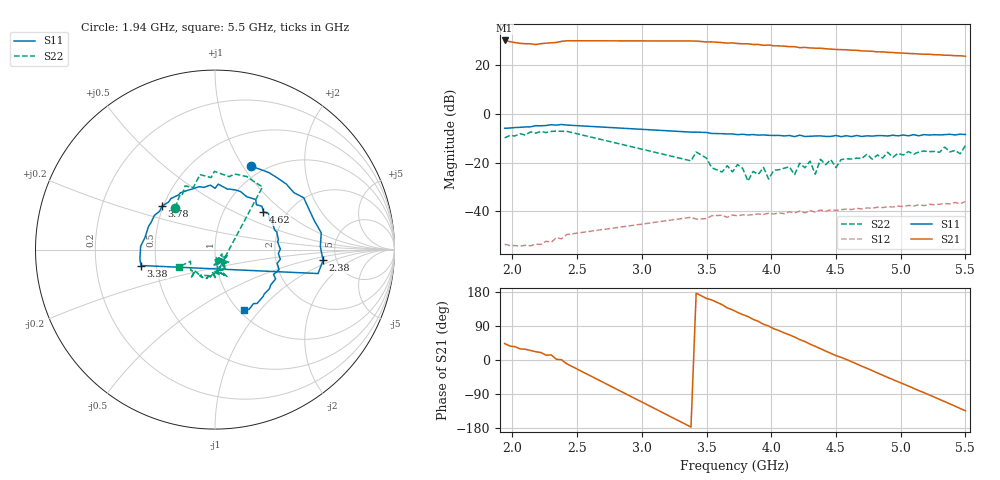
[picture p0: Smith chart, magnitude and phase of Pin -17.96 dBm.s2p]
! RsaToolbox (C) 2015 Rohde & Schwarz America
! Number of points: 65
! Number of ports: 2
! Balanced ports?: No
# Hz S RI R 50
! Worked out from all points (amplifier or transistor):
!   65 points, 1.94 GHz to 5.5 GHz, reference 50 ohm
!   highest |S21| = 30.2 dB at 1.94 GHz (marker M1)
!   |S21| within 3 dB of that: start of sweep to 4.288 GHz
!   unconditionally stable (mu >= 1): start of sweep to end of sweep
!   at 2.34 GHz: K = 3.43, MAG = 31.8 dB, |S12| = -50.9 dB
!   at 4.22 GHz: K = 1.95, MAG = 28.0 dB, |S12| = -39.9 dB
!   at 5.5 GHz: K = 1.75, MAG = 24.8 dB, |S12| = -36.0 dB
!   S11 on the Smith chart (normalised r, x): 1.94 GHz: 0.87, +1.09; 2.38 GHz: 3.91, -0.74; 3.38 GHz: 0.41, -0.09; 3.78 GHz: 0.49, +0.28; 4.62 GHz: 1.53, +0.73; 5.5 GHz: 1.05, -0.83
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1.94e9  0.2021 0.465  23.42 22.18  -0.000214 -0.00209  -0.2215 0.2331
2.06e9  0.3459 0.4005  24.52 13.76  -0.000561 -0.00183  -0.1664 0.355
2.18e9  0.4941 0.289  24.67 9.892  -0.000536 -0.00203  -0.0217 0.4015
2.22e9  0.5257 0.22  26.09 9.354  -0.00047 -0.00203  -0.00322 0.436
2.26e9  0.5537 0.1604  27.61 6.291  -0.000733 -0.00231  0.079 0.4062
2.3e9  0.5921 0.0929  28.11 6.697  -0.000584 -0.00222  0.1081 0.4214
2.34e9  0.5868 0.0174  29.34 0.9525  -0.00108 -0.00265  0.1771 0.4071
2.38e9  0.6021 -0.0601  30.87 0.281  -0.000889 -0.00256  0.2094 0.3843
2.42e9  0.5743 -0.1334  31.34 -5.495  -0.00163 -0.00289  0.2646 0.3491
3.38e9  -0.4127 -0.0886  -31.42 -1.684  -0.0039 0.00642  0.0217 -0.1063
3.54e9  -0.3904 0.067  -28.07 11.03  -0.00158 0.00791  0.0122 -0.0772
3.74e9  -0.3083 0.2135  -16.2 22.71  0.0016 0.00787  0.00253 -0.0909
3.78e9  -0.2956 0.2418  -13.69 23.92  0.0026 0.00803  0.0475 -0.0586
3.98e9  -0.1433 0.3332  0.1728 26.02  0.00572 0.00707  0.0394 -0.0236
4.18e9  0.000425 0.3412  11.77 20.95  0.00823 0.00413  2.42e-05 -0.0565
4.34e9  0.1183 0.3312  18.08 13.15  0.00946 0.00151  0.024 -0.0523
4.46e9  0.1795 0.2936  20.43 6.488  0.0107 -0.00104  0.0588 -0.0985
4.62e9  0.2692 0.2102  20.24 -1.549  0.0098 -0.00464  0.0257 -0.1154
4.78e9  0.3321 0.109  17.05 -9.054  0.00826 -0.00804  0.0091 -0.1169
4.94e9  0.3641 0.00215  11.32 -14.32  0.00591 -0.0107  -0.00637 -0.1281
5.22e9  0.3099 -0.1974  -0.5701 -16.76  -0.00114 -0.0139  -0.0836 -0.1452
5.5e9  0.1637 -0.3392  -10.61 -10.98  -0.0091 -0.0129  -0.2013 -0.0953
